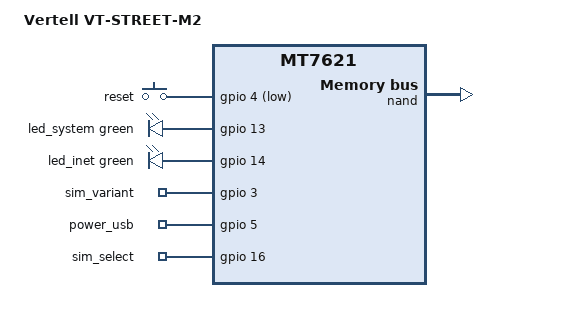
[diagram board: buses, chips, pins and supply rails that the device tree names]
// SPDX-License-Identifier: GPL-2.0-or-later OR MIT

#include "mt7621.dtsi"

#include <dt-bindings/gpio/gpio.h>
#include <dt-bindings/input/input.h>
#include <dt-bindings/leds/common.h>

/ {
	compatible = "vertell,vt-mt7621d", "mediatek,mt7621-soc";
	model = "Vertell VT-STREET-M2";

	aliases {
		led-boot = &led_system;
		led-failsafe = &led_system;
		led-running = &led_system;
		led-upgrade = &led_system;
		label-mac-device = &gmac0;
	};

	chosen {
		bootargs = "console=ttyS0,115200";
	};

	keys {
		compatible = "gpio-keys";

		reset {
			label = "reset";
			gpios = <&gpio 4 GPIO_ACTIVE_LOW>;
			linux,code = <KEY_RESTART>;
		};
	};

	leds {
		compatible = "gpio-leds";

		led_system: system {
			color = <LED_COLOR_ID_GREEN>;
			function = LED_FUNCTION_STATUS;
			gpios = <&gpio 13 GPIO_ACTIVE_HIGH>;
		};

		led_inet: internet {
			color = <LED_COLOR_ID_GREEN>;
			function = LED_FUNCTION_WAN;
			gpios = <&gpio 14 GPIO_ACTIVE_HIGH>;
		};
	};

	gpio-export {
		compatible = "gpio-export";
		#size-cells = <0>;

		sim-variant {
			gpio-export,name = "sim_variant";
			gpios = <&gpio 3 GPIO_ACTIVE_HIGH>;
		};

		power-usb {
			gpio-export,name = "power_usb";
			gpio-export,output = <1>;
			gpios = <&gpio 5 GPIO_ACTIVE_HIGH>;
		};

		sim-select {
			gpio-export,name = "sim_select";
			gpio-export,output = <1>;
			gpios = <&gpio 16 GPIO_ACTIVE_HIGH>;
		};
	};
};

&nand {
	status = "okay";

	partitions {
		compatible = "fixed-partitions";
		#address-cells = <1>;
		#size-cells = <1>;

		partition@0 {
			label = "u-boot";
			reg = <0x0000000 0x0080000>;
			read-only;
		};

		partition@80000 {
			label = "Config";
			reg = <0x0080000 0x0080000>;
		};

		partition@100000 {
			label = "Factory";
			reg = <0x0100000 0x0080000>;
			read-only;

			nvmem-layout {
				compatible = "fixed-layout";
				#address-cells = <1>;
				#size-cells = <1>;

				macaddr_factory_28: macaddr@28 {
					reg = <0x28 0x6>;
				};
			};
		};

		partition@180000 {
			label = "firmware";
			reg = <0x0180000 0x7680000>;
			compatible = "fixed-partitions";
			#address-cells = <1>;
			#size-cells = <1>;

			partition@0 {
				label = "kernel";
				reg = <0x0000000 0x0400000>;
			};

			partition@400000 {
				label = "ubi";
				reg = <0x0400000 0x7280000>;
			};
		};

		/* 0x07800000..0x08000000 intentionally remains unpartitioned. */
	};
};

&gmac0 {
	nvmem-cells = <&macaddr_factory_28>;
	nvmem-cell-names = "mac-address";
};

&switch0 {
	ports {
		port@1 {
			status = "okay";
			label = "lan1";
		};
	};
};

&state_default {
	gpio {
		groups = "i2c", "jtag", "wdt", "uart3";
		function = "gpio";
	};
};

&pcie {
	status = "disabled";
};
